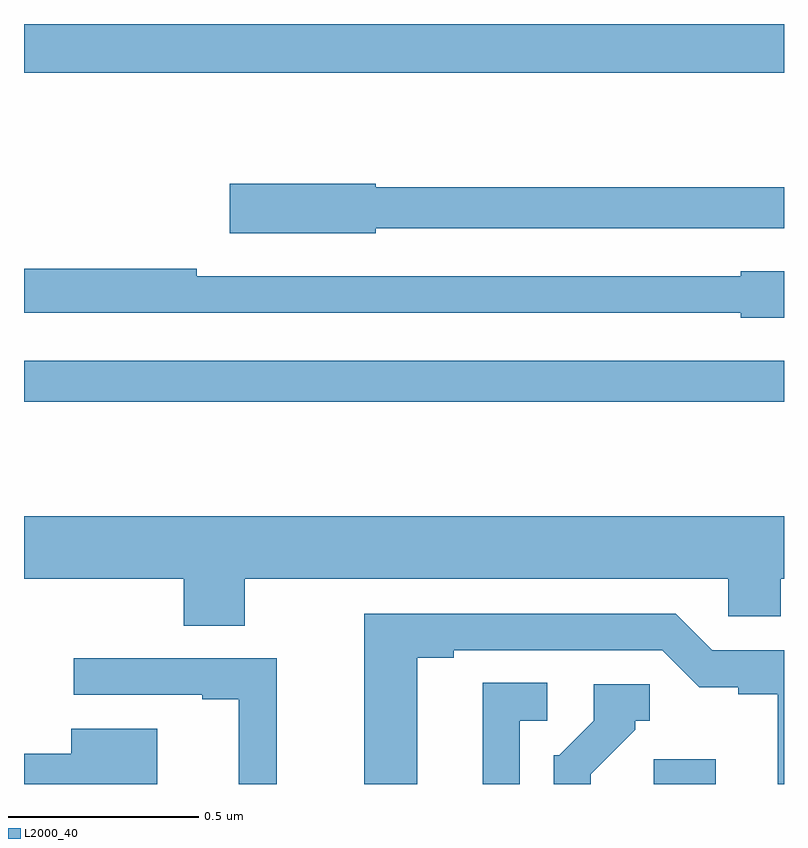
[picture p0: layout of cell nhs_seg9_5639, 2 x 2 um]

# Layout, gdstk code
import gdstk
lib = gdstk.Library(unit=1e-6, precision=1e-09)
def R(c, l, rs):  # rectangles x0, y0, x1, y1
    for r in rs: c.add(gdstk.rectangle(r[:2], r[2:], *l))
def P(c, l, *ps):  # polygons
    for p in ps: c.add(gdstk.Polygon(p, *l))
L2000_40 = (2000, 40)

nhs_seg9_5639 = lib.new_cell('nhs_seg9_5639')
R(nhs_seg9_5639, L2000_40, [(182.657,1242.5,182.821,1242.565), (181,1243.506,183,1243.614), (181,1244.372,183,1244.5)])
P(nhs_seg9_5639, L2000_40, [(181.926,1243.962),(183,1243.962),(183,1244.071),(181.926,1244.071),(181.926,1244.079),(181.542,1244.079),(181.542,1243.949),(181.926,1243.949)],
  [(183,1243.849),(182.886,1243.849),(182.886,1243.836),(181.454,1243.836),(181.454,1243.856),(181,1243.856),(181,1243.74),(182.886,1243.74),(182.886,1243.727),(183,1243.727)],
  [(181.581,1243.04),(182.853,1243.04),(182.853,1242.942),(182.991,1242.942),(182.991,1243.04),(183,1243.04),(183,1243.204),(181,1243.204),(181,1243.04),(181.421,1243.04),(181.421,1242.916),(181.581,1242.916)],
  [(182.035,1242.832),(182.131,1242.832),(182.131,1242.852),(182.679,1242.852),(182.777,1242.755),(182.88,1242.755),(182.88,1242.736),(182.984,1242.736),(182.984,1242.5),(183,1242.5),(183,1242.852),(182.811,1242.852),(182.715,1242.948),(181.895,1242.948),(181.895,1242.5),(182.035,1242.5)],
  [(181.665,1242.831),(181.131,1242.831),(181.131,1242.735),(181.469,1242.735),(181.469,1242.723),(181.565,1242.723),(181.565,1242.5),(181.665,1242.5)],
  [(182.304,1242.666),(182.377,1242.666),(182.377,1242.767),(182.207,1242.767),(182.207,1242.5),(182.304,1242.5)],
  [(182.491,1242.526),(182.608,1242.643),(182.608,1242.666),(182.647,1242.666),(182.647,1242.762),(182.499,1242.762),(182.499,1242.666),(182.409,1242.576),(182.394,1242.576),(182.394,1242.5),(182.491,1242.5)],
  [(181.351,1242.646),(181.124,1242.646),(181.124,1242.58),(181,1242.58),(181,1242.5),(181.351,1242.5)])

lib.write_gds('nhs_seg9_5639.gds')
